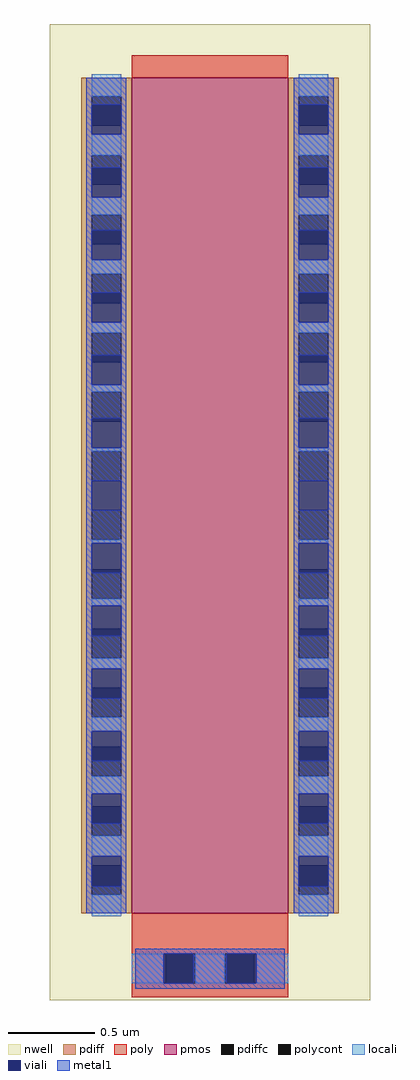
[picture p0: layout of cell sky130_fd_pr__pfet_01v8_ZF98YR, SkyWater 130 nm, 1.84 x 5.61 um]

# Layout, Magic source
magic
tech sky130A
magscale 1 2
<< nwell >>
rect -184 -544 184 578
<< pmos >>
rect -90 -444 90 516
<< pdiff >>
rect -148 495 -90 516
rect -148 461 -136 495
rect -102 461 -90 495
rect -148 427 -90 461
rect -148 393 -136 427
rect -102 393 -90 427
rect -148 359 -90 393
rect -148 325 -136 359
rect -102 325 -90 359
rect -148 291 -90 325
rect -148 257 -136 291
rect -102 257 -90 291
rect -148 223 -90 257
rect -148 189 -136 223
rect -102 189 -90 223
rect -148 155 -90 189
rect -148 121 -136 155
rect -102 121 -90 155
rect -148 87 -90 121
rect -148 53 -136 87
rect -102 53 -90 87
rect -148 19 -90 53
rect -148 -15 -136 19
rect -102 -15 -90 19
rect -148 -49 -90 -15
rect -148 -83 -136 -49
rect -102 -83 -90 -49
rect -148 -117 -90 -83
rect -148 -151 -136 -117
rect -102 -151 -90 -117
rect -148 -185 -90 -151
rect -148 -219 -136 -185
rect -102 -219 -90 -185
rect -148 -253 -90 -219
rect -148 -287 -136 -253
rect -102 -287 -90 -253
rect -148 -321 -90 -287
rect -148 -355 -136 -321
rect -102 -355 -90 -321
rect -148 -389 -90 -355
rect -148 -423 -136 -389
rect -102 -423 -90 -389
rect -148 -444 -90 -423
rect 90 495 148 516
rect 90 461 102 495
rect 136 461 148 495
rect 90 427 148 461
rect 90 393 102 427
rect 136 393 148 427
rect 90 359 148 393
rect 90 325 102 359
rect 136 325 148 359
rect 90 291 148 325
rect 90 257 102 291
rect 136 257 148 291
rect 90 223 148 257
rect 90 189 102 223
rect 136 189 148 223
rect 90 155 148 189
rect 90 121 102 155
rect 136 121 148 155
rect 90 87 148 121
rect 90 53 102 87
rect 136 53 148 87
rect 90 19 148 53
rect 90 -15 102 19
rect 136 -15 148 19
rect 90 -49 148 -15
rect 90 -83 102 -49
rect 136 -83 148 -49
rect 90 -117 148 -83
rect 90 -151 102 -117
rect 136 -151 148 -117
rect 90 -185 148 -151
rect 90 -219 102 -185
rect 136 -219 148 -185
rect 90 -253 148 -219
rect 90 -287 102 -253
rect 136 -287 148 -253
rect 90 -321 148 -287
rect 90 -355 102 -321
rect 136 -355 148 -321
rect 90 -389 148 -355
rect 90 -423 102 -389
rect 136 -423 148 -389
rect 90 -444 148 -423
<< pdiffc >>
rect -136 461 -102 495
rect -136 393 -102 427
rect -136 325 -102 359
rect -136 257 -102 291
rect -136 189 -102 223
rect -136 121 -102 155
rect -136 53 -102 87
rect -136 -15 -102 19
rect -136 -83 -102 -49
rect -136 -151 -102 -117
rect -136 -219 -102 -185
rect -136 -287 -102 -253
rect -136 -355 -102 -321
rect -136 -423 -102 -389
rect 102 461 136 495
rect 102 393 136 427
rect 102 325 136 359
rect 102 257 136 291
rect 102 189 136 223
rect 102 121 136 155
rect 102 53 136 87
rect 102 -15 136 19
rect 102 -83 136 -49
rect 102 -151 136 -117
rect 102 -219 136 -185
rect 102 -287 136 -253
rect 102 -355 136 -321
rect 102 -423 136 -389
<< poly >>
rect -90 516 90 542
rect -90 -491 90 -444
rect -90 -525 -51 -491
rect -17 -525 17 -491
rect 51 -525 90 -491
rect -90 -541 90 -525
<< polycont >>
rect -51 -525 -17 -491
rect 17 -525 51 -491
<< locali >>
rect -136 495 -102 520
rect -136 427 -102 451
rect -136 359 -102 379
rect -136 291 -102 307
rect -136 223 -102 235
rect -136 155 -102 163
rect -136 87 -102 91
rect -136 -19 -102 -15
rect -136 -91 -102 -83
rect -136 -163 -102 -151
rect -136 -235 -102 -219
rect -136 -307 -102 -287
rect -136 -379 -102 -355
rect -136 -448 -102 -423
rect 102 495 136 520
rect 102 427 136 451
rect 102 359 136 379
rect 102 291 136 307
rect 102 223 136 235
rect 102 155 136 163
rect 102 87 136 91
rect 102 -19 136 -15
rect 102 -91 136 -83
rect 102 -163 136 -151
rect 102 -235 136 -219
rect 102 -307 136 -287
rect 102 -379 136 -355
rect 102 -448 136 -423
rect -90 -525 -53 -491
rect -17 -525 17 -491
rect 53 -525 90 -491
<< viali >>
rect -136 461 -102 485
rect -136 451 -102 461
rect -136 393 -102 413
rect -136 379 -102 393
rect -136 325 -102 341
rect -136 307 -102 325
rect -136 257 -102 269
rect -136 235 -102 257
rect -136 189 -102 197
rect -136 163 -102 189
rect -136 121 -102 125
rect -136 91 -102 121
rect -136 19 -102 53
rect -136 -49 -102 -19
rect -136 -53 -102 -49
rect -136 -117 -102 -91
rect -136 -125 -102 -117
rect -136 -185 -102 -163
rect -136 -197 -102 -185
rect -136 -253 -102 -235
rect -136 -269 -102 -253
rect -136 -321 -102 -307
rect -136 -341 -102 -321
rect -136 -389 -102 -379
rect -136 -413 -102 -389
rect 102 461 136 485
rect 102 451 136 461
rect 102 393 136 413
rect 102 379 136 393
rect 102 325 136 341
rect 102 307 136 325
rect 102 257 136 269
rect 102 235 136 257
rect 102 189 136 197
rect 102 163 136 189
rect 102 121 136 125
rect 102 91 136 121
rect 102 19 136 53
rect 102 -49 136 -19
rect 102 -53 136 -49
rect 102 -117 136 -91
rect 102 -125 136 -117
rect 102 -185 136 -163
rect 102 -197 136 -185
rect 102 -253 136 -235
rect 102 -269 136 -253
rect 102 -321 136 -307
rect 102 -341 136 -321
rect 102 -389 136 -379
rect 102 -413 136 -389
rect -53 -525 -51 -491
rect -51 -525 -19 -491
rect 19 -525 51 -491
rect 51 -525 53 -491
<< metal1 >>
rect -142 485 -96 516
rect -142 451 -136 485
rect -102 451 -96 485
rect -142 413 -96 451
rect -142 379 -136 413
rect -102 379 -96 413
rect -142 341 -96 379
rect -142 307 -136 341
rect -102 307 -96 341
rect -142 269 -96 307
rect -142 235 -136 269
rect -102 235 -96 269
rect -142 197 -96 235
rect -142 163 -136 197
rect -102 163 -96 197
rect -142 125 -96 163
rect -142 91 -136 125
rect -102 91 -96 125
rect -142 53 -96 91
rect -142 19 -136 53
rect -102 19 -96 53
rect -142 -19 -96 19
rect -142 -53 -136 -19
rect -102 -53 -96 -19
rect -142 -91 -96 -53
rect -142 -125 -136 -91
rect -102 -125 -96 -91
rect -142 -163 -96 -125
rect -142 -197 -136 -163
rect -102 -197 -96 -163
rect -142 -235 -96 -197
rect -142 -269 -136 -235
rect -102 -269 -96 -235
rect -142 -307 -96 -269
rect -142 -341 -136 -307
rect -102 -341 -96 -307
rect -142 -379 -96 -341
rect -142 -413 -136 -379
rect -102 -413 -96 -379
rect -142 -444 -96 -413
rect 96 485 142 516
rect 96 451 102 485
rect 136 451 142 485
rect 96 413 142 451
rect 96 379 102 413
rect 136 379 142 413
rect 96 341 142 379
rect 96 307 102 341
rect 136 307 142 341
rect 96 269 142 307
rect 96 235 102 269
rect 136 235 142 269
rect 96 197 142 235
rect 96 163 102 197
rect 136 163 142 197
rect 96 125 142 163
rect 96 91 102 125
rect 136 91 142 125
rect 96 53 142 91
rect 96 19 102 53
rect 136 19 142 53
rect 96 -19 142 19
rect 96 -53 102 -19
rect 136 -53 142 -19
rect 96 -91 142 -53
rect 96 -125 102 -91
rect 136 -125 142 -91
rect 96 -163 142 -125
rect 96 -197 102 -163
rect 136 -197 142 -163
rect 96 -235 142 -197
rect 96 -269 102 -235
rect 136 -269 142 -235
rect 96 -307 142 -269
rect 96 -341 102 -307
rect 136 -341 142 -307
rect 96 -379 142 -341
rect 96 -413 102 -379
rect 136 -413 142 -379
rect 96 -444 142 -413
rect -86 -491 86 -485
rect -86 -525 -53 -491
rect -19 -525 19 -491
rect 53 -525 86 -491
rect -86 -531 86 -525
<< end >>
